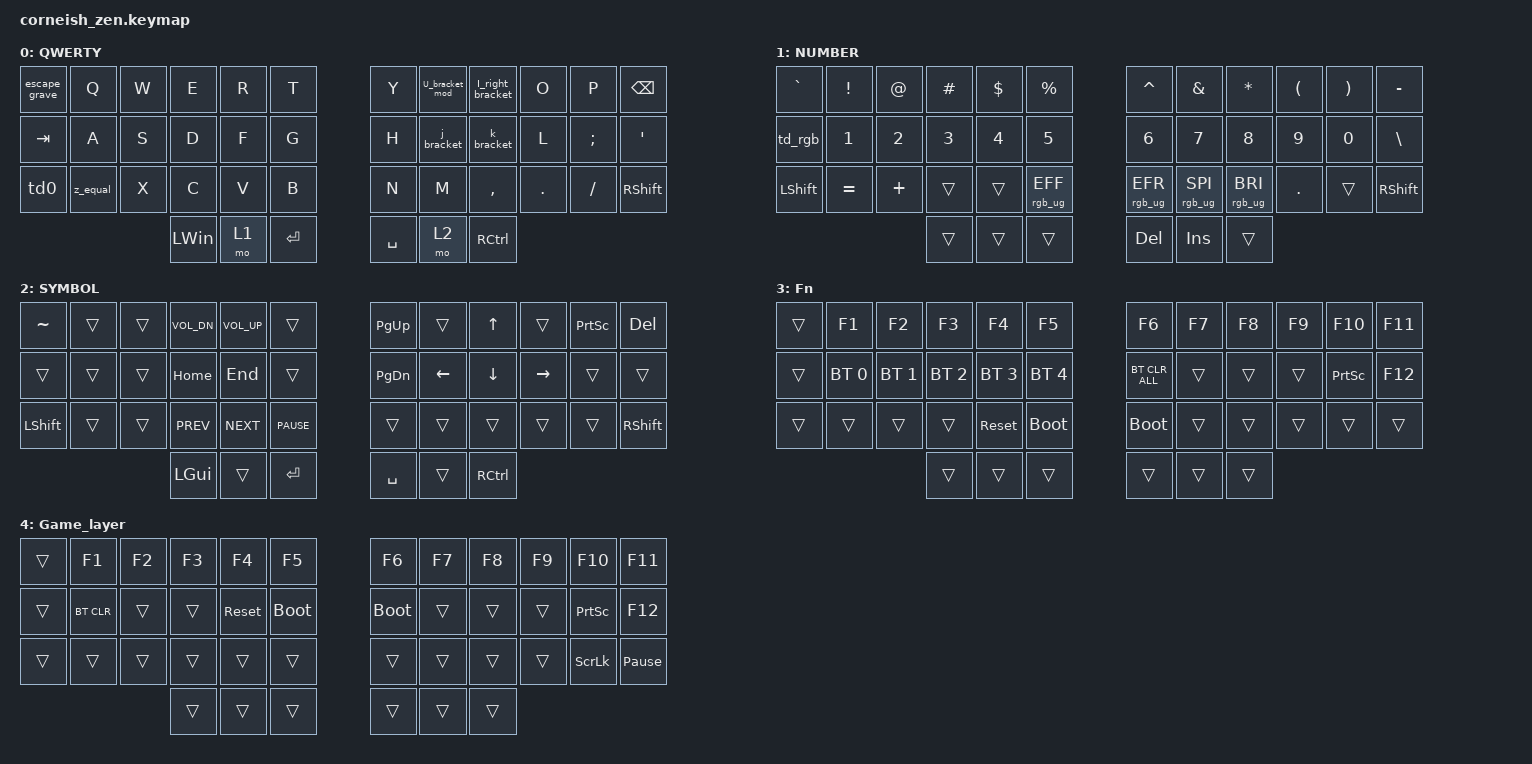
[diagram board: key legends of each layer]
/*
 * Copyright (c) 2020 The ZMK Contributors
 *
 * SPDX-License-Identifier: MIT
 */

#include <behaviors.dtsi>
#include <dt-bindings/zmk/bt.h>
#include <dt-bindings/zmk/keys.h>
#include <dt-bindings/zmk/rgb.h>

/ {
    chosen {
        zmk,matrix_transform = &default_transform;

        // zmk,matrix_transform = &five_column_transform;
    };
};

/ {
    behaviors {
        td0: td0 {
            compatible = "zmk,behavior-tap-dance";
            label = "TD0";
            #binding-cells = <0>;
            bindings = <&kp LEFT_SHIFT>, <&kp CAPS>;
        };

        U_bracket_mod: U_bracket_mod {
            compatible = "zmk,behavior-mod-morph";
            label = "U_BRACKET_MOD";
            bindings = <&kp U>, <&kp LEFT_BRACE>;

            #binding-cells = <0>;
            mods = <(MOD_LCTL|MOD_LALT|MOD_RALT|MOD_RCTL|MOD_LGUI|MOD_RGUI)>;
        };

        I_right_bracket: I_right_bracket {
            compatible = "zmk,behavior-mod-morph";
            label = "I_RIGHT_BRACKET";
            bindings = <&kp I>, <&kp RIGHT_BRACE>;

            #binding-cells = <0>;
            mods = <(MOD_LCTL|MOD_LALT|MOD_RALT|MOD_RCTL|MOD_LGUI|MOD_RGUI)>;
        };

        j_bracket: j_bracket {
            compatible = "zmk,behavior-mod-morph";
            label = "J_BRACKET";
            bindings = <&kp J>, <&kp LEFT_BRACKET>;

            #binding-cells = <0>;
            mods = <(MOD_LCTL|MOD_LALT|MOD_RALT|MOD_RCTL|MOD_RGUI|MOD_LGUI)>;
        };

        k_bracket: k_bracket {
            compatible = "zmk,behavior-mod-morph";
            label = "K_BRACKET";
            bindings = <&kp K>, <&kp RIGHT_BRACKET>;

            #binding-cells = <0>;
            mods = <(MOD_LCTL|MOD_LALT|MOD_LGUI|MOD_RCTL|MOD_RALT|MOD_RGUI)>;
        };

        z_equal: z_equal {
            compatible = "zmk,behavior-mod-morph";
            label = "Z_EQUAL";
            bindings = <&kp Z>, <&kp EQUAL>;

            #binding-cells = <0>;
            mods = <(MOD_LALT|MOD_LGUI|MOD_RALT|MOD_RGUI)>;
        };

        escape_grave: escape_grave {
            compatible = "zmk,behavior-mod-morph";
            label = "ESCAPE_GRAVE";
            bindings = <&kp ESC>, <&kp GRAVE>;

            #binding-cells = <0>;
            mods = <(MOD_LCTL|MOD_LALT|MOD_LGUI|MOD_RCTL|MOD_RALT|MOD_RGUI|MOD_LSFT|MOD_RSFT)>;
        };

        td_rgb: td_rgb {
            compatible = "zmk,behavior-tap-dance";
            label = "TD_RGB";
            #binding-cells = <0>;
            bindings = <&rgb_ug RGB_ON>, <&rgb_ug RGB_OFF>;
        };
    };

    combos {
        compatible = "zmk,combos";

        ctrl_combo {
            bindings = <&kp RCTRL>;
            key-positions = <15 16>;
        };

        jkalt {
            bindings = <&kp RIGHT_ALT>;
            key-positions = <19 20>;
        };

        jump_layer_1 {
            bindings = <&to 0>;
            key-positions = <36 37 38>;
        };

        jump_to_game {
            bindings = <&to 4>;
            key-positions = <39 40 41>;
        };

        macwin {
            bindings = <&kp LEFT_WIN>;
            key-positions = <31 32>;
        };
    };

    keymap {
        compatible = "zmk,keymap";

        default_layer {
            display-name = "QWERTY";

            // --------------------------------------------------------------------------------
            // |  TAB |  Q  |  W  |  E  |  R  |  T  |   |  Y  |  U   |  I  |  O  |  P  | BKSP |
            // | CTRL |  A  |  S  |  D  |  F  |  G  |   |  H  |  J   |  K  |  L  |  ;  |  '   | 
            // | SHFT |  Z  |  X  |  C  |  V  |  B  |   |  N  |  M   |  ,  |  .  |  /  | ESC  |
            //                    | GUI | LWR | SPC |   | ENT | RSE  | ALT |

            bindings = <
&escape_grave  &kp Q     &kp W  &kp E     &kp R  &kp T        &kp Y      &U_bracket_mod  &I_right_bracket  &kp O    &kp P     &kp BSPC
&kp TAB        &kp A     &kp S  &kp D     &kp F  &kp G        &kp H      &j_bracket      &k_bracket        &kp L    &kp SEMI  &kp SQT
&td0           &z_equal  &kp X  &kp C     &kp V  &kp B        &kp N      &kp M           &kp COMMA         &kp DOT  &kp FSLH  &kp RIGHT_SHIFT
                                &kp LWIN  &mo 1  &kp ENTER    &kp SPACE  &mo 2           &kp RCTRL
            >;
        };

        lower_layer {
            display-name = "NUMBER";

            // -----------------------------------------------------------------------------------------
            // |      |  !  |  @  |  #  |  $  |  %  |   |  ^  |  &  |  *  |  (  |  )  |   -  |
            // |      |  1  |  2  |  3  |  4  |  5  |   |  6  |  7  |  8  |  9  |  0  |   \  |
            // | SHFT |     |     |     |     |     |   |     |     |     |     |     | SHFT |
            //                    |     |     |     |   | DEL | INS |    |

            bindings = <
&kp GRAVE       &kp EXCL   &kp AT    &kp HASH  &kp DLLR  &kp PRCNT          &kp CARET        &kp AMPS         &kp ASTRK        &kp LPAR  &kp RPAR  &kp MINUS
&td_rgb         &kp N1     &kp N2    &kp N3    &kp N4    &kp N5             &kp N6           &kp N7           &kp N8           &kp N9    &kp N0    &kp BSLH
&kp LEFT_SHIFT  &kp EQUAL  &kp PLUS  &trans    &trans    &rgb_ug RGB_EFF    &rgb_ug RGB_EFR  &rgb_ug RGB_SPI  &rgb_ug RGB_BRI  &kp DOT   &trans    &kp RIGHT_SHIFT
                                     &trans    &trans    &trans             &kp DEL          &kp INS          &trans
            >;
        };

        raise_layer {
            display-name = "SYMBOL";

            // -----------------------------------------------------------------------------------------
            // |   ~  |     |     |  v-  | v+  |     |   | PG UP|     |  UP  |      |     | DEL  |
            // |      |     |     | HOME | END |     |   | PG DN| LFT |  DWN | RGHT |     |      |
            // | SHFT |     |     |prev  | next|pause|   |      |     |     |       |     | SHFT |
            //                    | GUI |     | ENT |   | SPACE |     | CTRL |

            bindings = <
&kp TILDE       &trans  &trans  &kp C_VOL_DN  &kp C_VOL_UP  &trans         &kp PG_UP  &trans    &kp UP     &trans     &kp PSCRN  &kp DEL
&trans          &trans  &trans  &kp HOME      &kp END       &trans         &kp PG_DN  &kp LEFT  &kp DOWN   &kp RIGHT  &trans     &trans
&kp LEFT_SHIFT  &trans  &trans  &kp C_PREV    &kp C_NEXT    &kp C_PAUSE    &trans     &trans    &trans     &trans     &trans     &kp RIGHT_SHIFT
                                &kp LGUI      &trans        &kp RET        &kp SPACE  &trans    &kp RCTRL
            >;
        };

        layer_3 {
            display-name = "Fn";

            // -----------------------------------------------------------------------------------------
            // |  `   |  F1 |  F2 |  F3  | F4  |  F5 |     | F6   | F7  |  F8  |  F9  | F10  | F11  |
            // |      | BT0 | BT1 | BT2  | BT3 | BT4 |     |CLR BT|     |      |      | PS   | F12  |
            // |      |   |   |  | sys_reset|bootloader|     | bootloader |     |     |       |     | SHFT |
            //                    | GUI |     | ENT |     | SPACE |     | CTRL |

            bindings = <
&trans  &kp F1        &kp F2        &kp F3        &kp F4        &kp F5          &kp F6          &kp F7  &kp F8  &kp F9  &kp F10          &kp F11
&trans  &bt BT_SEL 0  &bt BT_SEL 1  &bt BT_SEL 2  &bt BT_SEL 3  &bt BT_SEL 4    &bt BT_CLR_ALL  &trans  &trans  &trans  &kp PRINTSCREEN  &kp F12
&trans  &trans        &trans        &trans        &sys_reset    &bootloader     &bootloader     &trans  &trans  &trans  &trans           &trans
                                    &trans        &trans        &trans          &trans          &trans  &trans
            >;
        };

        Game_layer {
            bindings = <
&trans  &kp F1      &kp F2  &kp F3  &kp F4      &kp F5         &kp F6       &kp F7  &kp F8  &kp F9  &kp F10          &kp F11
&trans  &bt BT_CLR  &trans  &trans  &sys_reset  &bootloader    &bootloader  &trans  &trans  &trans  &kp PRINTSCREEN  &kp F12
&trans  &trans      &trans  &trans  &trans      &trans         &trans       &trans  &trans  &trans  &kp SCROLLLOCK   &kp PAUSE_BREAK
                            &trans  &trans      &trans         &trans       &trans  &trans
            >;
        };
    };

    conditional_layers {
        compatible = "zmk,conditional-layers";

        layer3 {
            if-layers = <1 2>;
            then-layer = <3>;
        };

        layer32 {
            if-layers = <2 1>;
            then-layer = <3>;
        };
    };
};
